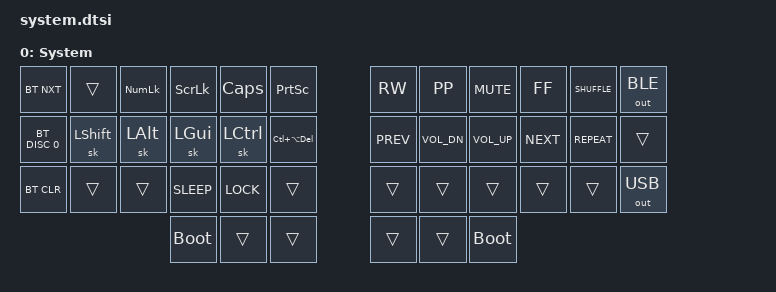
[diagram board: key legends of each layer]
/ {
  keymap {
    compatible = "zmk,keymap";
    System {
      label = "System";
      bindings = 
       <&bt BT_NXT     &trans     &kp KP_NUM  &kp SLCK     &kp CAPS    &kp PRINTSCREEN     &kp C_RW    &kp K_PP      &kp K_MUTE    &kp C_FF    &kp C_SHUFFLE  &out OUT_BLE
        &bt BT_DISC 0  &sk LSHFT  &sk LALT    &sk LGUI     &sk LCTRL   &kp LC(LA(DELETE))  &kp K_PREV  &kp K_VOL_DN  &kp K_VOL_UP  &kp K_NEXT  &kp C_REPEAT   &trans
        &bt BT_CLR     &trans     &trans      &kp K_SLEEP  &kp K_LOCK  &trans              &trans      &trans        &trans        &trans      &trans         &out OUT_USB
                                              &bootloader  &trans      &trans              &trans      &trans        &bootloader>;
    };
  };
};
